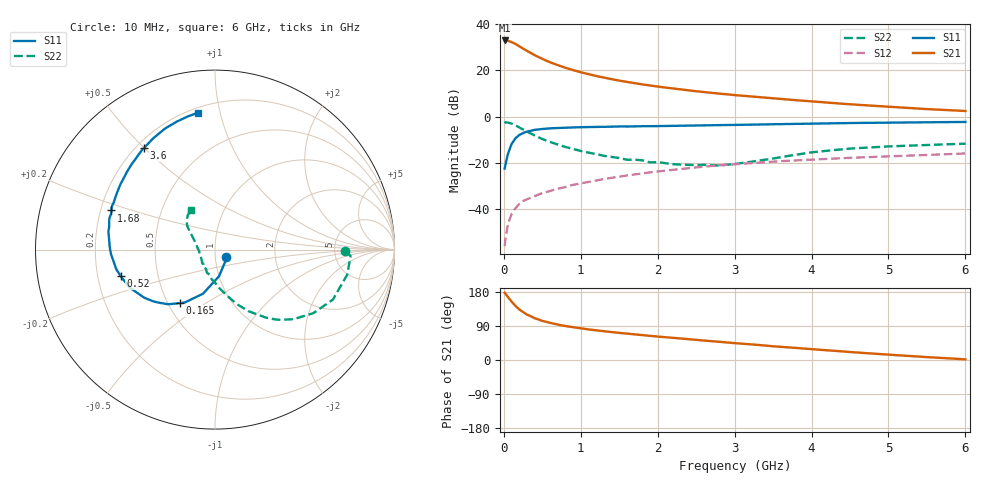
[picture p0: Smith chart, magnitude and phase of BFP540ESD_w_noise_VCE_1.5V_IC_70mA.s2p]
! Infineon Technologies  Discrete & RF Semiconductors
! BFP540ESD
! VCE =  1.5 V,  IC =  70 mA
! Common Emitter S-Parameters:  Nov 2015
# GHz  S  MA  R  50
!  f  S11  S21  S12  S22
! GHz  MAG  ANG  MAG  ANG  MAG  ANG  MAG  ANG
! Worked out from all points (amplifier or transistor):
!   210 points, 10 MHz to 6 GHz, reference 50 ohm
!   highest |S21| = 32.9 dB at 10 MHz (marker M1)
!   |S21| within 3 dB of that: start of sweep to 225.3 MHz
!   unconditionally stable (mu >= 1): start of sweep to 59.44 MHz; 778.7 MHz to end of sweep
!   at 185 MHz: K = 0.63, MSG = 34.5 dB, |S12| = -38.3 dB
!   at 1.52 GHz: K = 1.15, MAG = 18.3 dB, |S12| = -25.8 dB
!   at 6 GHz: K = 1.19, MAG = 6.5 dB, |S12| = -15.9 dB
!   lowest NFmin = 2.19 dB at 900 MHz
!   S11 on the Smith chart (normalised r, x): 10 MHz: 1.13, -0.09; 165 MHz: 0.58, -0.39; 520 MHz: 0.30, -0.12; 1.68 GHz: 0.24, +0.17; 3.6 GHz: 0.23, +0.50; 6 GHz: 0.23, +0.86
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0.01  0.0756 -32.3  44.17 177.7  0.0016 97.7  0.7266 -0.6
0.05  0.1502 -81.5  43.67 166.8  0.0044 80.8  0.7497 -10.7
0.1  0.2547 -105.2  41.03 153.8  0.0078 73.3  0.7134 -23.0
0.15  0.3393 -119.7  37.21 142.7  0.0105 69.4  0.6523 -32.9
0.165  0.3563 -123.3  35.91 140.2  0.0112 68.0  0.6312 -35.2
0.2  0.4007 -130.5  33.21 133.5  0.013 65.5  0.5866 -41.3
0.24  0.4349 -137.4  30.2 127.6  0.0147 62.1  0.5394 -46.5
0.3  0.4763 -145.7  26.3 119.8  0.0165 60.9  0.4744 -53.1
0.4  0.5188 -155.7  21.21 110.3  0.0192 60.0  0.3919 -61.3
0.52  0.5461 -164.4  17.07 102.3  0.023 59.3  0.32 -68.8
0.6  0.5606 -168.7  14.91 97.9  0.0248 59.3  0.2839 -72.9
0.7  0.5696 -173.7  12.94 93.4  0.0278 59.9  0.2494 -77.4
0.8  0.5802 -177.6  11.33 89.6  0.0302 61.1  0.2217 -82.5
1.02  0.5916 175.1  8.91 82.9  0.0369 60.8  0.1782 -91.6
1.3  0.6028 167.9  6.963 75.9  0.0452 60.0  0.1427 -102.3
1.68  0.6171 159.3  5.344 67.8  0.0556 58.8  0.1178 -120.5
2.02  0.6263 152.5  4.409 61.5  0.0659 56.5  0.1034 -133.2
3.1  0.6673 133.1  2.83 43.1  0.0965 47.4  0.0999 171.7
3.6  0.6908 124.9  2.407 34.8  0.1096 42.4  0.1332 153.5
4.1  0.7123 117.7  2.074 27.1  0.1203 37.4  0.1767 143.6
5.1  0.7466 105.5  1.6 12.8  0.1414 28.0  0.2313 132.6
6  0.7691 96.9  1.326 1.7  0.1604 20.9  0.2608 121.1
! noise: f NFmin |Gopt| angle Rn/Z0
0.9  2.19  0.56  -140  0.19
1.8  2.37  0.58  -141  0.19
2.4  2.45  0.6  -131  0.27
3  2.62  0.61  -121  0.38
4  2.73  0.68  -101  0.74
5  2.88  0.76  -86  1.12
6  3.49  0.68  -82  1.8
